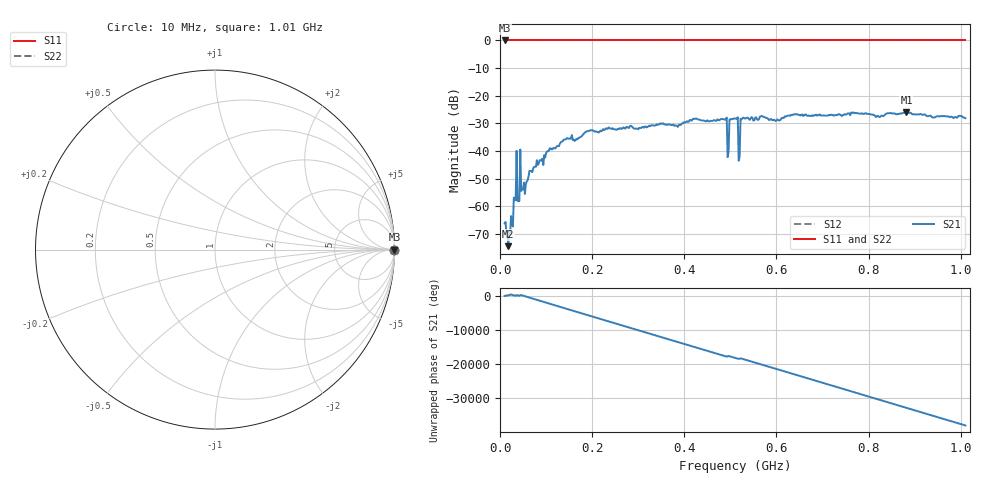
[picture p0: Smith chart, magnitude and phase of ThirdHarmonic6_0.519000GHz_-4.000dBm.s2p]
! 8/15/2025 3:56:35 PM
! C:\ANRITSUVNA\TEMP\TEMP.S2P
! CHANNEL.1
! TR.MEASUREMENT
! RAW.DATA
! RF.CORRECTION.OFF
! AVERAGING.OFF
! IF.BANDWIDTH: 5KHZ
! SWEEPTYPE:  FREQ.SWEEP(Linear)
! Reference Plane Port Info
! PORT:  PORT1  PORT2
! DISTANCE:  0  m  0  m
! TIME:  0  s  0  s
! PHASE.OFFSET:  0  deg.  0  deg.
! LOSS:  0  dB  0  dB
! REF.LOSS:  0  dB  0  dB
! REF.FREQ:  0  Hz  0  Hz
! Power Info
! POWER:  -20  dBm  -20  dBm
! EFF.POWER:  -20  dBm  -20  dBm
! SOURCE.ATTEN:  0  dB  0  dB
! TEST.ATTEN:  0  dB  0  dB
# GHZ S RI R 50.0
! FREQ.GHZ  S11RE  S11IM  S21RE  S21IM  S12RE  S12IM  S22RE  S22IM
!; PortSelection: Port_12
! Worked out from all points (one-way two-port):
!   501 points, 10 MHz to 1.01 GHz, reference 50 ohm
!   highest |S21| = -25.84 dB at 882 MHz (marker M1); lowest = -74.4 dB at 18 MHz (marker M2)
!   lowest |S11| = 0.0 dB at 10 MHz (marker M3)
!   |S11| at or under -10 dB: nowhere
!   |S22| runs from 0.0 to 0.0 dB; largest |S21 - S12| = 1
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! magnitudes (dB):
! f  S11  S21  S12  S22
! 10 MHz  0.0  -66.1  0.0  0.0
! 18 MHz  0.0  -74.4  0.0  0.0
! 34 MHz  0.0  -57.8  0.0  0.0
! 40 MHz  0.0  -58.1  0.0  0.0
! 42 MHz  0.0  -58.1  0.0  0.0
! 48 MHz  0.0  -53.7  0.0  0.0
! 50 MHz  0.0  -53.8  0.0  0.0
! 106 MHz  0.0  -39.9  0.0  0.0
! 178 MHz  0.0  -34.5  0.0  0.0
! 344 MHz  0.0  -30.4  0.0  0.0
! 488 MHz  0.0  -28.6  0.0  0.0
! 492 MHz  0.0  -27.9  0.0  0.0
! 498 MHz  0.0  -28.6  0.0  0.0
! 502 MHz  0.0  -28.4  0.0  0.0
! 510 MHz  0.0  -28.2  0.0  0.0
! 516 MHz  0.0  -27.8  0.0  0.0
! 522 MHz  0.0  -28.3  0.0  0.0
! 526 MHz  0.0  -28.2  0.0  0.0
! 678 MHz  0.0  -27.0  0.0  0.0
! 844 MHz  0.0  -26.3  0.0  0.0
! 882 MHz  0.0  -25.8  0.0  0.0
! 1.01 GHz  0.0  -28.1  0.0  0.0
